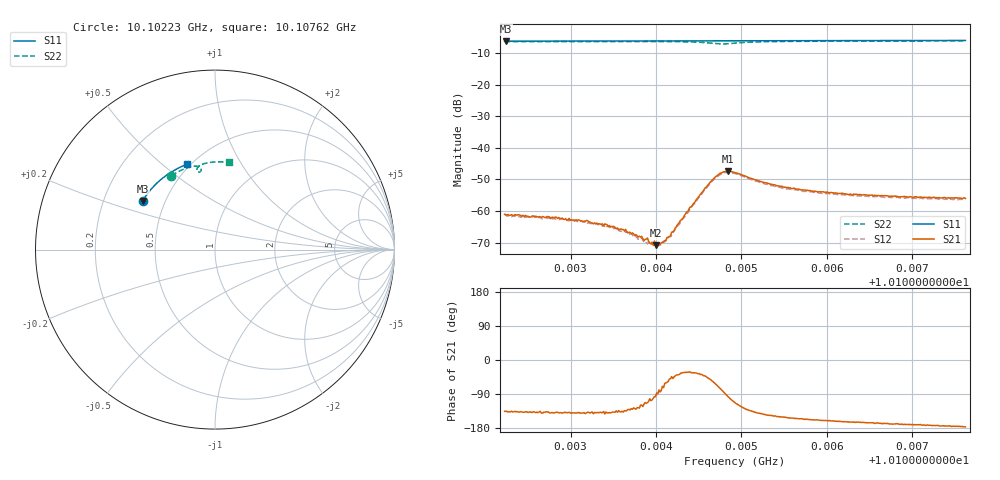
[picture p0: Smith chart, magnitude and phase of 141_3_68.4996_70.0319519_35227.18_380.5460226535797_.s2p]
#  HZ  S  RI  R  50.00
! Rohde & Schwarz Vector Network Analyzer
! Rohde-Schwarz,ZNB20-2Port,1311601062101988,3.16
! Created: UTC 3/20/2024, 4:54:53 PM
! freq[Hz]  re:S11  im:S11  re:S21  im:S21  re:S12  im:S12  re:S22  im:S22
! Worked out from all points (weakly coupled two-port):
!   401 points, 10.10223 GHz to 10.10762 GHz, reference 50 ohm
!   highest |S21| = -47.43 dB at 10.10484 GHz (marker M1); lowest = -70.9 dB at 10.10399 GHz (marker M2)
!   lowest |S11| = -6.3 dB at 10.10224 GHz (marker M3), VSWR 2.89, Z = 18.7 + j13.3 ohm
!   |S11| at or under -10 dB: nowhere
!   |S22| runs from -7.1 to -6.2 dB; largest |S21 - S12| = 0.00043
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1.0102227e10  -0.4038 0.2704  -0.000632 -0.000621  -0.00058 -0.00064  -0.2424 0.4124
1.010224e10  -0.4033 0.271  -0.000623 -0.000619  -0.000576 -0.000644  -0.2416 0.413
1.0102807e10  -0.3844 0.3  -0.000597 -0.000502  -0.000525 -0.00057  -0.2096 0.4319
1.0103131e10  -0.3729 0.3158  -0.000534 -0.000448  -0.000497 -0.000471  -0.1902 0.4416
1.0103455e10  -0.3605 0.3312  -0.000442 -0.000388  -0.00041 -0.0004  -0.1701 0.4503
1.0103617e10  -0.3541 0.3388  -0.000375 -0.000344  -0.000314 -0.000357  -0.1593 0.4544
1.0103819e10  -0.346 0.348  -0.000187 -0.000338  -0.000175 -0.000321  -0.1456 0.459
1.0103873e10  -0.3437 0.3504  -0.000133 -0.000328  -0.000123 -0.000305  -0.1419 0.4601
1.0103941e10  -0.3409 0.3533  -9.07e-05 -0.00029  -4.82e-05 -0.000296  -0.1371 0.4616
1.0103995e10  -0.3387 0.3556  -3.33e-05 -0.000283  -3.27e-05 -0.000313  -0.133 0.4623
1.0104035e10  -0.3369 0.3575  5.8e-05 -0.000305  4.58e-05 -0.000285  -0.1299 0.463
1.0104076e10  -0.3352 0.3593  0.000112 -0.000298  0.000125 -0.000296  -0.1268 0.4637
1.0104143e10  -0.3323 0.3622  0.000207 -0.000317  0.000236 -0.000309  -0.1213 0.4646
1.0104372e10  -0.3224 0.3718  0.000824 -0.000521  0.000832 -0.000425  -0.1008 0.465
1.0104656e10  -0.3095 0.3834  0.00175 -0.0025  0.00192 -0.00222  -0.0772 0.4454
1.0104764e10  -0.3046 0.3874  0.000829 -0.00391  0.00111 -0.00369  -0.0837 0.4327
1.0104845e10  -0.301 0.3906  -0.000505 -0.00422  -0.000137 -0.00408  -0.0946 0.4333
1.0104926e10  -0.2974 0.3937  -0.00157 -0.00373  -0.00117 -0.00373  -0.1005 0.4419
1.0105344e10  -0.2775 0.4096  -0.0022 -0.00146  -0.00199 -0.00155  -0.0766 0.4737
1.010583e10  -0.2532 0.4264  -0.00191 -0.000789  -0.00178 -0.000949  -0.0411 0.4838
1.0106734e10  -0.2056 0.4534  -0.00167 -0.000323  -0.00157 -0.000478  0.0199 0.4889
1.0107625e10  -0.156 0.4748  -0.00158 -0.000101  -0.00149 -0.000239  0.0778 0.4855
